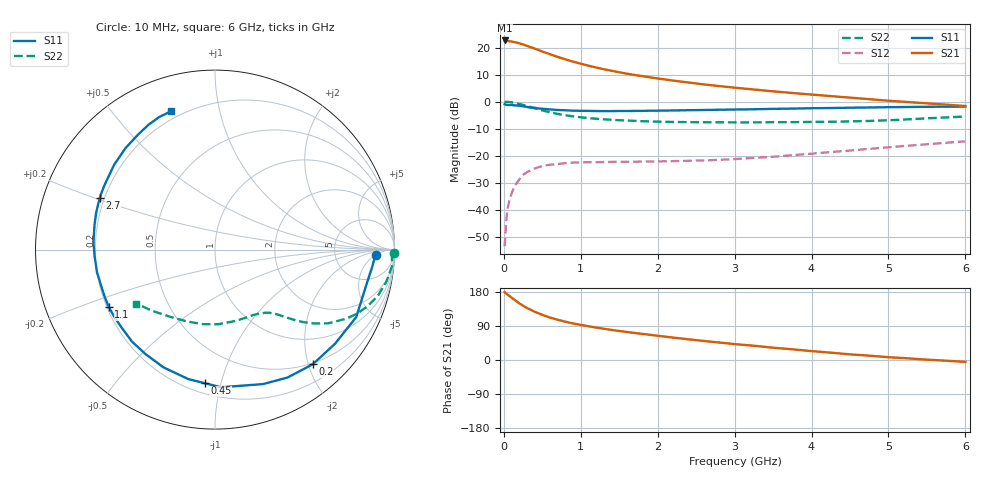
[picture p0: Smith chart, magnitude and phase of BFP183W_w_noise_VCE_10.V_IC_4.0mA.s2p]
! (c) 2017  Infineon Technologies AG, Munich
! Infineon Technologies  Discrete & RF Semiconductors
! BFP183W
! VCE =  10. V,  IC =  4.0 mA
! Common Emitter S-Parameters:  Jan 2017
# GHz  S  MA  R  50
!  f  S11  S21  S12  S22
! GHz  MAG  ANG  MAG  ANG  MAG  ANG  MAG  ANG
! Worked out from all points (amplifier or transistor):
!   77 points, 10 MHz to 6 GHz, reference 50 ohm
!   highest |S21| = 22.6 dB at 10 MHz (marker M1)
!   |S21| within 3 dB of that: start of sweep to 400.9 MHz
!   unconditionally stable (mu >= 1): 2.408 GHz to 4.367 GHz
!   at 130 MHz: K = 0.06, MSG = 27.0 dB, |S12| = -32.0 dB
!   at 2.2 GHz: K = 0.95, MSG = 14.9 dB, |S12| = -22.1 dB
!   at 6 GHz: K = 0.79, MSG = 6.5 dB, |S12| = -14.7 dB
!   lowest NFmin = 0.73 dB at 450 MHz
!   S11 on the Smith chart (normalised r, x): 10 MHz: 17, -5; 200 MHz: 0.48, -2.08; 450 MHz: 0.26, -0.89; 1.1 GHz: 0.21, -0.24; 2.7 GHz: 0.18, +0.21; 6 GHz: 0.16, +0.72
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0.01  0.8951 -1.8  13.56 179.3  0.0021 78.8  0.9982 -1.2
0.02  0.8804 -6.5  13.46 176.8  0.0034 88.5  0.9864 -2.2
0.05  0.8663 -12.7  13.26 172.3  0.0106 84.1  0.9902 -5.5
0.1  0.8721 -25.5  12.99 164.5  0.0198 77.9  0.9707 -10.8
0.15  0.8499 -38.1  12.55 157.0  0.0287 70.8  0.9428 -15.9
0.2  0.8397 -49.5  12.02 149.8  0.036 64.8  0.9073 -20.3
0.25  0.8194 -60.4  11.46 143.2  0.0439 58.6  0.8689 -24.2
0.3  0.7958 -70.3  10.8 137.3  0.0492 53.8  0.827 -27.7
0.4  0.7677 -87.5  9.612 127.2  0.0577 46.7  0.7521 -33.1
0.45  0.7465 -94.4  9.016 123.4  0.0608 43.6  0.7191 -34.9
0.5  0.7367 -101.6  8.466 119.0  0.0641 40.8  0.6869 -36.8
0.6  0.7161 -113.6  7.532 112.0  0.0677 36.7  0.6342 -39.5
0.7  0.6991 -123.7  6.717 106.2  0.0697 32.8  0.5914 -41.5
0.9  0.6785 -139.5  5.493 96.5  0.0741 28.9  0.5324 -44.4
1.1  0.6729 -151.5  4.627 89.1  0.0752 26.3  0.4954 -46.5
1.6  0.6689 -173.1  3.287 73.9  0.0767 25.4  0.4462 -52.3
2.1  0.6816 171.0  2.564 61.6  0.0784 27.7  0.4223 -59.9
2.7  0.7025 156.0  2.008 48.2  0.0824 33.4  0.4137 -71.2
3.1  0.7158 147.5  1.755 40.2  0.0879 37.2  0.4119 -79.2
4.1  0.7561 129.9  1.315 21.9  0.1116 44.5  0.421 -101.6
5.1  0.7903 116.9  1.015 6.2  0.1462 45.8  0.458 -127.0
6  0.8082 107.8  0.828 -5.0  0.1836 42.6  0.5307 -145.5
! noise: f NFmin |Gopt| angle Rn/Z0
0.45  0.73  0.32  50  0.29
0.9  0.9  0.29  94  0.14
1.9  1.5  0.43  165  0.08
2.4  1.78  0.48  179  0.08
